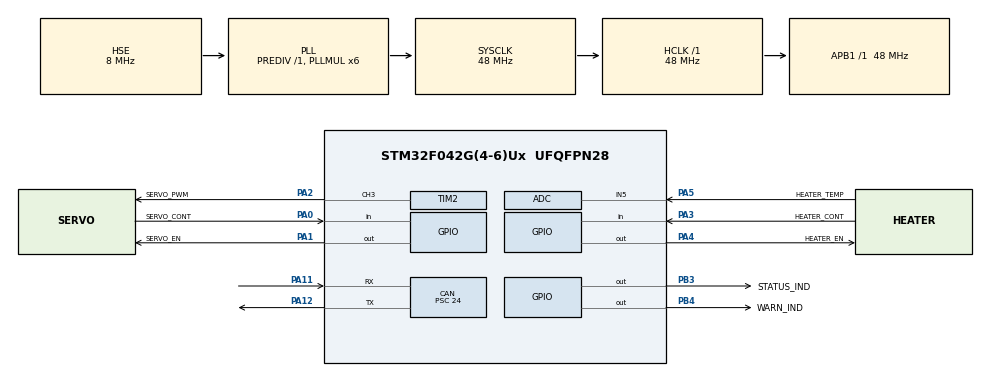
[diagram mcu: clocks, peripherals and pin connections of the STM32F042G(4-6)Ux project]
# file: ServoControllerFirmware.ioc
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ADC.ContinuousConvMode=DISABLE
ADC.DMAContinuousRequests=ENABLE
ADC.EOCSelection=ADC_EOC_SINGLE_CONV
ADC.SamplingTime=ADC_SAMPLETIME_71CYCLES_5
CAN.BS1=CAN_BS1_2TQ
CAN.CalculateBaudRate=500000
CAN.CalculateTimeBit=2000
CAN.CalculateTimeQuantum=500.0
CAN.Prescaler=24
Dma.ADC.0.Direction=DMA_PERIPH_TO_MEMORY
Dma.ADC.0.Instance=DMA1_Channel1
Dma.ADC.0.MemDataAlignment=DMA_MDATAALIGN_HALFWORD
Dma.ADC.0.MemInc=DMA_MINC_ENABLE
Dma.ADC.0.Mode=DMA_CIRCULAR
Dma.ADC.0.PeriphDataAlignment=DMA_PDATAALIGN_HALFWORD
Dma.ADC.0.PeriphInc=DMA_PINC_DISABLE
Dma.ADC.0.Priority=DMA_PRIORITY_LOW
Dma.Request0=ADC
Mcu.Family=STM32F0
Mcu.Name=STM32F042G(4-6)Ux
Mcu.Package=UFQFPN28
NVIC.CEC_CAN_IRQn=true\:1\:0\:true\:false\:true\:true\:true\:true
NVIC.DMA1_Channel1_IRQn=true\:0\:0\:false\:false\:true\:false\:true\:true
NVIC.TIM14_IRQn=true\:3\:0\:true\:false\:true\:true\:true\:true
PA0.GPIO_Label=SERVO_CONT
PA0.Signal=GPIO_Input
PA1.GPIO_Label=SERVO_EN
PA1.Signal=GPIO_Output
PA11.Mode=CAN_Activate
PA11.Signal=CAN_RX
PA12.Mode=CAN_Activate
PA12.Signal=CAN_TX
PA13.Mode=Serial_Wire
PA13.Signal=SYS_SWDIO
PA14.Mode=Serial_Wire
PA14.Signal=SYS_SWCLK
PA2.GPIO_Label=SERVO_PWM
PA2.Signal=S_TIM2_CH3
PA3.GPIO_Label=HEATER_CONT
PA3.Signal=GPIO_Input
PA4.GPIO_Label=HEATER_EN
PA4.Signal=GPIO_Output
PA5.GPIO_Label=HEATER_TEMP
PA5.Mode=IN5
PA5.Signal=ADC_IN5
PB3.GPIO_Label=STATUS_IND
PB3.Signal=GPIO_Output
PB4.GPIO_Label=WARN_IND
PB4.Signal=GPIO_Output
PF0-OSC_IN.Mode=HSE-External-Oscillator
PF0-OSC_IN.Signal=RCC_OSC_IN
PF1-OSC_OUT.Mode=HSE-External-Oscillator
PF1-OSC_OUT.Signal=RCC_OSC_OUT
ProjectManager.HeapSize=0x400
ProjectManager.StackSize=0x800
ProjectManager.TargetToolchain=STM32CubeIDE
RCC.AHBFreq_Value=48000000
RCC.APB1Freq_Value=48000000
RCC.APB1TimFreq_Value=48000000
RCC.HCLKFreq_Value=48000000
RCC.PLLMUL=RCC_PLL_MUL6
RCC.PLLSourceVirtual=RCC_PLLSOURCE_HSE
RCC.SYSCLKFreq_VALUE=48000000
RCC.SYSCLKSource=RCC_SYSCLKSOURCE_PLLCLK
SH.S_TIM2_CH3.0=TIM2_CH3,PWM Generation3 CH3
TIM14.Period=47999
TIM14.Prescaler=99
TIM2.Channel-PWM\ Generation3\ CH3=TIM_CHANNEL_3
TIM2.Period=159999
TIM2.Prescaler=5
VP_SYS_VS_PINREMAP.Mode=PINREMAP
VP_TIM14_VS_ClockSourceINT.Mode=Enable_Timer
VP_TIM16_VS_ClockSourceINT.Mode=Enable_Timer
VP_TIM2_VS_ClockSourceINT.Mode=Internal
board=custom

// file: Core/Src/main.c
/* USER CODE BEGIN Header */
/**
  ******************************************************************************
  * @file           : main.c
  * @brief          : Main program body
  ******************************************************************************
  * @attention
  *
  * Copyright (c) 2024 STMicroelectronics.
  * All rights reserved.
  *
  * This software is licensed under terms that can be found in the LICENSE file
  * in the root directory of this software component.
  * If no LICENSE file comes with this software, it is provided AS-IS.
  *
  ******************************************************************************
  */
/* USER CODE END Header */
#include "main.h"

/* USER CODE BEGIN Includes */
#include "stdbool.h"
#include "servo_utils.h"
#include "config/config.h"
#include "utils/board_utils.h"
#include "utils/can_utils.h"
//#include "heater_utils.h"

#include "servo_state_machine.h"
#include "thermocouple_state_machine.h"
#include "heater_state_machine.h"
/* USER CODE END Includes */

ADC_HandleTypeDef hadc;
DMA_HandleTypeDef hdma_adc;

CAN_HandleTypeDef hcan;

TIM_HandleTypeDef htim2;
TIM_HandleTypeDef htim14;
TIM_HandleTypeDef htim16;

/* USER CODE BEGIN PV */
static volatile uint32_t adc_val = 0;

uint32_t board_uid[3];
static uint8_t short_board_id;

volatile SERVO_CMD servo_cmd = CLOSE_SERVO;
volatile uint8_t servo_instance = -1;
volatile THERMO_CMD thermo_cmd = -1;
volatile uint8_t thermo_instance = -1;
volatile HEATER_CMD heater_cmd = H_OFF;
volatile uint8_t heater_instance = -1;
volatile bool new_command_received = 0;
volatile bool flash_signal_cmd = 0;
volatile bool board_status_cmd = 0;
/* USER CODE END PV */

void SystemClock_Config(void);
static void MX_GPIO_Init(void);
static void MX_DMA_Init(void);
static void MX_CAN_Init(void);
static void MX_TIM14_Init(void);
static void MX_TIM16_Init(void);
static void MX_TIM2_Init(void);
static void MX_ADC_Init(void);

/* USER CODE BEGIN 0 */
//enum COMMANDS {
//	SERVO_OPEN = 0,
//	SERVO_CLOSE = 1,
//	HEATER_ON = 2,
//	HEATER_OFF = 3
//};

void TestServo (Servo* servo) {
  while (1) {
	// LED TURNS ON, SERVO OPENS
	Tick_SERVO(OPEN_SERVO, servo);
	HAL_Delay(1000); // wait 15 seconds

	// LED STAYS ON, SERVO CLOSES
	Tick_SERVO(CLOSE_SERVO, servo);
	HAL_Delay(1000);

	// LED TURNS ON, SERVO GOES TO OPEN ANGLE
	Tick_SERVO(OPEN_SERVO, servo);
	HAL_Delay(1000); // wait 15 seconds

	// LED STAYS ON, SERVO CLOSES
	Tick_SERVO(CLOSE_SERVO, servo);
	HAL_Delay(1000);
  }
}

void TestHeater(Heater* heater) {

	while (1) {
	// TURNS HEATER ON
		Tick_HEATER (H_ON, heater);
		HAL_Delay(5000);

		// TURNS HEATER OFF
		Tick_HEATER (H_OFF, heater);
		HAL_Delay(5000);
	}
}

void TestThermocouple (Thermocouple* thermo){
	while (1) {
		Tick_THERMO(0, thermo);
		double temp = thermo->temperature;
		HAL_Delay(200);
	}
}

void TestHeaterAuto (Heater* heater, Thermocouple* thermo) {

	while (1) {
	// TURNS HEATER ON
		Tick_THERMO (-1, thermo);
		Tick_HEATER (H_AUTO, heater);
	}
}

void TestServoAndHeater() {

}

void Board_Status_Servo (Servo* servo, Thermocouple* thermo, Heater* heater) {
    // Call each individual sender function
    send_servo_status_can(servo, short_board_id, &hcan);
//    send_heater_status_can(heater, short_board_id, hcan);
//    send_thermo_mode_status_can(thermo, short_board_id, hcan);

    // TODO: Add calls to report status for other components managed by Pad Controller if any
}

/* USER CODE END 0 */

int main(void)
{

  /* MCU Configuration--------------------------------------------------------*/

  /* Reset of all peripherals, Initializes the Flash interface and the Systick. */
  HAL_Init();

  /* Configure the system clock */
  SystemClock_Config();

  /* Initialize all configured peripherals */
  MX_GPIO_Init();
  MX_DMA_Init();
  MX_CAN_Init();
  MX_TIM14_Init();
  MX_TIM16_Init();
  MX_TIM2_Init();
  MX_ADC_Init();
  /* USER CODE BEGIN 2 */
  GET_BOARD_UID (board_uid);
  short_board_id = GET_SHORT_BOARD_ID (board_uid);

  // Configure filter for extended ID
  CAN_FilterTypeDef filter;
  filter.FilterActivation = CAN_FILTER_ENABLE;
  filter.FilterBank = 0;
  filter.FilterFIFOAssignment = CAN_FILTER_FIFO0;
  filter.FilterMode = CAN_FILTERMODE_IDMASK;
  filter.FilterScale = CAN_FILTERSCALE_32BIT;
  uint32_t canIdFilter = ((uint32_t)short_board_id << 16);
  canIdFilter |= CAN_ID_EXT;
  uint32_t canIdMask = (0xFFUL << 16);
  canIdMask |= CAN_ID_EXT;
  canIdMask |= CAN_RTR_DATA;
  canIdMask |= (1UL << 31);
  filter.FilterIdHigh = (uint16_t)(canIdFilter >> 16);
  filter.FilterIdLow = (uint16_t)(canIdFilter & 0xFFFF);
  filter.FilterMaskIdHigh = (uint16_t)(canIdMask >> 16);
  filter.FilterMaskIdLow = (uint16_t)(canIdMask & 0xFFFF);

//  CAN_FilterTypeDef filter;
//
//  // Configure filter to accept all extended IDs
//  filter.FilterActivation = CAN_FILTER_ENABLE;
//  filter.FilterBank = 0;
//  filter.FilterFIFOAssignment = CAN_FILTER_FIFO0;
//  filter.FilterMode = CAN_FILTERMODE_IDMASK;
//  filter.FilterScale = CAN_FILTERSCALE_32BIT;
//
//  // Set IDE bit in filter ID (to match extended IDs)
//  filter.FilterIdHigh = 0x0000;
//  filter.FilterIdLow = CAN_ID_EXT & 0xFFFF;
//  // Only require IDE bit match, mask everything else to 0
//  filter.FilterMaskIdHigh = 0x0000;
//  filter.FilterMaskIdLow = CAN_ID_EXT & 0xFFFF;

  if (HAL_CAN_ConfigFilter(&hcan, &filter) != HAL_OK) {
      Error_Handler();
  }
  HAL_ADCEx_Calibration_Start(&hadc);
  HAL_ADC_Start_DMA(&hadc,(uint32_t*)&adc_val,1);

  if (HAL_CAN_ActivateNotification(&hcan, CAN_IT_RX_FIFO0_MSG_PENDING)) {
    Error_Handler();
  };

  if (HAL_CAN_Start(&hcan) != HAL_OK) {
      Error_Handler();
  }

  STATUS_IND_Toggle();
  HAL_Delay(500);
  STATUS_IND_Toggle();
  /* USER CODE END 2 */

  /* Infinite loop */
  /* USER CODE BEGIN WHILE */
  HAL_TIM_PWM_Start(&htim2, TIM_CHANNEL_3);

  /* configure board */
  // uint32_t uid[3] = GET_BOARD_UUID();

  /* initialize servos */
  uint32_t servo_can_id = GET_SERVO_CAN_ID(board_uid, 1);
  uint32_t thermo_can_id = GET_THERMO_CAN_ID(board_uid, 1);
  uint32_t heater_can_id = GET_HEATER_CAN_ID(board_uid, 1);
  if (servo_can_id == -1 || thermo_can_id == -1 || heater_can_id == -1) {
	  Error_Handler();
  }

  Servo* servo = construct_servo (servo_can_id, &htim2);
  Thermocouple* thermo = construct_thermo(thermo_can_id, &hadc, &adc_val);
  Heater* heater = construct_heater (heater_can_id, thermo);

  if (!servo) {
	  CRITIAL_ERROR_GENERIC_On();
  }

  if (!thermo) {
	  CRITIAL_ERROR_GENERIC_On();
  }

  if (!heater) {
	  CRITIAL_ERROR_GENERIC_On();
  }

  // ** TESTING FUNCTIONS AT TOP OF FILE ** //
//  TestServo (servo);
//  TestHeater (heater);

//  TestThermocouple (thermo);
//  TestHeaterAuto (heater, thermo);
  // ** TESTING

  // will run through a set of test commands to see if everything works then repeat
  uint32_t prev_time = HAL_GetTick ();
  while (1)
  {
    // Execute the current commands on each loop iteration
	if (HAL_GetTick () - prev_time >= 50) {
		prev_time = HAL_GetTick ();
		Tick_SERVO(servo_cmd, servo);
		Tick_THERMO(thermo_cmd, thermo);
//		Tick_HEATER(heater_cmd, heater);

		// Visual feedback when new command is received (optional)
		if (new_command_received) {
			STATUS_IND_Toggle();
			new_command_received = 0;
		}

		// more visual feedback

		flash_signal_cmd = Tick_SIGNAL (flash_signal_cmd);

		if (board_status_cmd) {
			Board_Status_Servo (servo, thermo, heater);
			board_status_cmd = 0;
		}
	}
  }
    /* USER CODE END WHILE */

}

void SystemClock_Config(void)
{
  RCC_OscInitTypeDef RCC_OscInitStruct = {0};
  RCC_ClkInitTypeDef RCC_ClkInitStruct = {0};

  /** Initializes the RCC Oscillators according to the specified parameters
  * in the RCC_OscInitTypeDef structure.
  */
  RCC_OscInitStruct.OscillatorType = RCC_OSCILLATORTYPE_HSI14|RCC_OSCILLATORTYPE_HSE;
  RCC_OscInitStruct.HSEState = RCC_HSE_ON;
  RCC_OscInitStruct.HSI14State = RCC_HSI14_ON;
  RCC_OscInitStruct.HSI14CalibrationValue = 16;
  RCC_OscInitStruct.PLL.PLLState = RCC_PLL_ON;
  RCC_OscInitStruct.PLL.PLLSource = RCC_PLLSOURCE_HSE;
  RCC_OscInitStruct.PLL.PLLMUL = RCC_PLL_MUL6;
  RCC_OscInitStruct.PLL.PREDIV = RCC_PREDIV_DIV1;
  if (HAL_RCC_OscConfig(&RCC_OscInitStruct) != HAL_OK)
  {
    Error_Handler();
  }

  /** Initializes the CPU, AHB and APB buses clocks
  */
  RCC_ClkInitStruct.ClockType = RCC_CLOCKTYPE_HCLK|RCC_CLOCKTYPE_SYSCLK
                              |RCC_CLOCKTYPE_PCLK1;
  RCC_ClkInitStruct.SYSCLKSource = RCC_SYSCLKSOURCE_PLLCLK;
  RCC_ClkInitStruct.AHBCLKDivider = RCC_SYSCLK_DIV1;
  RCC_ClkInitStruct.APB1CLKDivider = RCC_HCLK_DIV1;

  if (HAL_RCC_ClockConfig(&RCC_ClkInitStruct, FLASH_LATENCY_1) != HAL_OK)
  {
    Error_Handler();
  }
}

static void MX_ADC_Init(void)
{

  ADC_ChannelConfTypeDef sConfig = {0};

  /** Configure the global features of the ADC (Clock, Resolution, Data Alignment and number of conversion)
  */
  hadc.Instance = ADC1;
  hadc.Init.ClockPrescaler = ADC_CLOCK_ASYNC_DIV1;
  hadc.Init.Resolution = ADC_RESOLUTION_12B;
  hadc.Init.DataAlign = ADC_DATAALIGN_RIGHT;
  hadc.Init.ScanConvMode = ADC_SCAN_DIRECTION_FORWARD;
  hadc.Init.EOCSelection = ADC_EOC_SINGLE_CONV;
  hadc.Init.LowPowerAutoWait = DISABLE;
  hadc.Init.LowPowerAutoPowerOff = DISABLE;
  hadc.Init.ContinuousConvMode = DISABLE;
  hadc.Init.DiscontinuousConvMode = DISABLE;
  hadc.Init.ExternalTrigConv = ADC_SOFTWARE_START;
  hadc.Init.ExternalTrigConvEdge = ADC_EXTERNALTRIGCONVEDGE_NONE;
  hadc.Init.DMAContinuousRequests = ENABLE;
  hadc.Init.Overrun = ADC_OVR_DATA_PRESERVED;
  if (HAL_ADC_Init(&hadc) != HAL_OK)
  {
    Error_Handler();
  }

  /** Configure for the selected ADC regular channel to be converted.
  */
  sConfig.Channel = ADC_CHANNEL_5;
  sConfig.Rank = ADC_RANK_CHANNEL_NUMBER;
  sConfig.SamplingTime = ADC_SAMPLETIME_71CYCLES_5;
  if (HAL_ADC_ConfigChannel(&hadc, &sConfig) != HAL_OK)
  {
    Error_Handler();
  }

}

static void MX_CAN_Init(void)
{

  hcan.Instance = CAN;
  hcan.Init.Prescaler = 24;
  hcan.Init.Mode = CAN_MODE_NORMAL;
  hcan.Init.SyncJumpWidth = CAN_SJW_1TQ;
  hcan.Init.TimeSeg1 = CAN_BS1_2TQ;
  hcan.Init.TimeSeg2 = CAN_BS2_1TQ;
  hcan.Init.TimeTriggeredMode = DISABLE;
  hcan.Init.AutoBusOff = DISABLE;
  hcan.Init.AutoWakeUp = DISABLE;
  hcan.Init.AutoRetransmission = DISABLE;
  hcan.Init.ReceiveFifoLocked = DISABLE;
  hcan.Init.TransmitFifoPriority = DISABLE;
  if (HAL_CAN_Init(&hcan) != HAL_OK)
  {
    Error_Handler();
  }

}

static void MX_TIM2_Init(void)
{

  TIM_ClockConfigTypeDef sClockSourceConfig = {0};
  TIM_MasterConfigTypeDef sMasterConfig = {0};
  TIM_OC_InitTypeDef sConfigOC = {0};

  htim2.Instance = TIM2;
  htim2.Init.Prescaler = 5;
  htim2.Init.CounterMode = TIM_COUNTERMODE_UP;
  htim2.Init.Period = 159999;
  htim2.Init.ClockDivision = TIM_CLOCKDIVISION_DIV1;
  htim2.Init.AutoReloadPreload = TIM_AUTORELOAD_PRELOAD_DISABLE;
  if (HAL_TIM_Base_Init(&htim2) != HAL_OK)
  {
    Error_Handler();
  }
  sClockSourceConfig.ClockSource = TIM_CLOCKSOURCE_INTERNAL;
  if (HAL_TIM_ConfigClockSource(&htim2, &sClockSourceConfig) != HAL_OK)
  {
    Error_Handler();
  }
  if (HAL_TIM_PWM_Init(&htim2) != HAL_OK)
  {
    Error_Handler();
  }
  sMasterConfig.MasterOutputTrigger = TIM_TRGO_RESET;
  sMasterConfig.MasterSlaveMode = TIM_MASTERSLAVEMODE_DISABLE;
  if (HAL_TIMEx_MasterConfigSynchronization(&htim2, &sMasterConfig) != HAL_OK)
  {
    Error_Handler();
  }
  sConfigOC.OCMode = TIM_OCMODE_PWM1;
  sConfigOC.Pulse = 0;
  sConfigOC.OCPolarity = TIM_OCPOLARITY_HIGH;
  sConfigOC.OCFastMode = TIM_OCFAST_DISABLE;
  if (HAL_TIM_PWM_ConfigChannel(&htim2, &sConfigOC, TIM_CHANNEL_3) != HAL_OK)
  {
    Error_Handler();
  }
  HAL_TIM_MspPostInit(&htim2);

}

static void MX_TIM14_Init(void)
{

  htim14.Instance = TIM14;
  htim14.Init.Prescaler = 99;
  htim14.Init.CounterMode = TIM_COUNTERMODE_UP;
  htim14.Init.Period = 47999;
  htim14.Init.ClockDivision = TIM_CLOCKDIVISION_DIV1;
  htim14.Init.AutoReloadPreload = TIM_AUTORELOAD_PRELOAD_DISABLE;
  if (HAL_TIM_Base_Init(&htim14) != HAL_OK)
  {
    Error_Handler();
  }

}

static void MX_TIM16_Init(void)
{

  htim16.Instance = TIM16;
  htim16.Init.Prescaler = 0;
  htim16.Init.CounterMode = TIM_COUNTERMODE_UP;
  htim16.Init.Period = 65535;
  htim16.Init.ClockDivision = TIM_CLOCKDIVISION_DIV1;
  htim16.Init.RepetitionCounter = 0;
  htim16.Init.AutoReloadPreload = TIM_AUTORELOAD_PRELOAD_DISABLE;
  if (HAL_TIM_Base_Init(&htim16) != HAL_OK)
  {
    Error_Handler();
  }

}

static void MX_DMA_Init(void)
{

  /* DMA controller clock enable */
  __HAL_RCC_DMA1_CLK_ENABLE();

  /* DMA interrupt init */
  /* DMA1_Channel1_IRQn interrupt configuration */
  HAL_NVIC_SetPriority(DMA1_Channel1_IRQn, 0, 0);
  HAL_NVIC_EnableIRQ(DMA1_Channel1_IRQn);

}

static void MX_GPIO_Init(void)
{
  GPIO_InitTypeDef GPIO_InitStruct = {0};

  /* GPIO Ports Clock Enable */
  __HAL_RCC_GPIOF_CLK_ENABLE();
  __HAL_RCC_GPIOA_CLK_ENABLE();
  __HAL_RCC_GPIOB_CLK_ENABLE();

  /*Configure GPIO pin Output Level */
  HAL_GPIO_WritePin(GPIOA, SERVO_EN_Pin|HEATER_EN_Pin, GPIO_PIN_RESET);

  /*Configure GPIO pin Output Level */
  HAL_GPIO_WritePin(GPIOB, STATUS_IND_Pin|WARN_IND_Pin, GPIO_PIN_RESET);

  /*Configure GPIO pins : SERVO_CONT_Pin HEATER_CONT_Pin */
  GPIO_InitStruct.Pin = SERVO_CONT_Pin|HEATER_CONT_Pin;
  GPIO_InitStruct.Mode = GPIO_MODE_INPUT;
  GPIO_InitStruct.Pull = GPIO_NOPULL;
  HAL_GPIO_Init(GPIOA, &GPIO_InitStruct);

  /*Configure GPIO pins : SERVO_EN_Pin HEATER_EN_Pin */
  GPIO_InitStruct.Pin = SERVO_EN_Pin|HEATER_EN_Pin;
  GPIO_InitStruct.Mode = GPIO_MODE_OUTPUT_PP;
  GPIO_InitStruct.Pull = GPIO_NOPULL;
  GPIO_InitStruct.Speed = GPIO_SPEED_FREQ_LOW;
  HAL_GPIO_Init(GPIOA, &GPIO_InitStruct);

  /*Configure GPIO pins : STATUS_IND_Pin WARN_IND_Pin */
  GPIO_InitStruct.Pin = STATUS_IND_Pin|WARN_IND_Pin;
  GPIO_InitStruct.Mode = GPIO_MODE_OUTPUT_PP;
  GPIO_InitStruct.Pull = GPIO_NOPULL;
  GPIO_InitStruct.Speed = GPIO_SPEED_FREQ_LOW;
  HAL_GPIO_Init(GPIOB, &GPIO_InitStruct);

}

/* USER CODE BEGIN 4 */
void HAL_CAN_RxFifo0MsgPendingCallback(CAN_HandleTypeDef *hcan)
{
//	STATUS_IND_Toggle();
    CAN_RxHeaderTypeDef RxHeader;
    uint8_t RxData[8];  // Max CAN data length = 8 bytes

    if (HAL_CAN_GetRxMessage(hcan, CAN_RX_FIFO0, &RxHeader, RxData) != HAL_OK)
    {
        Error_Handler();
    }

    // Parse extended ID to extract fields
    uint8_t sender, board_id, msg_type, instance, payload;
    uint32_t received_id_29bit = RxHeader.ExtId;

    parse_can_extended_id(received_id_29bit, &sender, &board_id, &msg_type, &instance);

    // Check if message is intended for this board
    if (board_id == short_board_id) {
        // Set command based on component type
        bool is_incoming_ack = (received_id_29bit & (CAN_ID_ACK_FLAG_29BIT)) != 0;
        if (is_incoming_ack) {
        	return;
//        	HAL_StatusTypeDef ack_status = send_can_ack(received_id_29bit, &payload, 0, hcan);
//        	if (ack_status != HAL_OK) {
//				// Optional: Log or handle ACK transmission failure
//        		is_incoming_ack = (received_id_29bit & (CAN_ID_ACK_FLAG_29BIT)) != 0;
//        	}
        }

        switch (msg_type) {
            case MSG_TYPE_SERVO:

                // First byte contains the servo command
                servo_cmd = RxData[0];
                servo_instance = instance;
                new_command_received = 1;
                break;

            case MSG_TYPE_THERMOCOUPLE:
                // First byte contains the thermocouple command
                thermo_cmd = RxData[0];
                thermo_instance = instance;
                new_command_received = 1;
                break;

            case MSG_TYPE_HEATER:
                // First byte contains the heater command
                heater_cmd = RxData[0];
                heater_instance = instance;
                new_command_received = 1;
                break;

            case MSG_TYPE_LED:
                // Toggle status LED for feedback
                STATUS_IND_Toggle();
                break;

            case MSG_TYPE_FLASH_SIGNAL:
            	flash_signal_cmd = 1;
            	break;

            case MSG_TYPE_BOARD_STATUS_RESPONSE:
            	board_status_cmd = 1;
            default:
                // Unknown component type
                break;
        }
    }
}

/* USER CODE END 4 */

void Error_Handler(void)
{
  __disable_irq();
  while (1)
  {
  }
}
